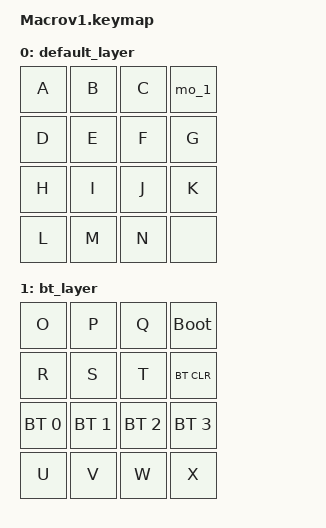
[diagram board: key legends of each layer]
#include <behaviors.dtsi>
#include <dt-bindings/zmk/keys.h>
#include <dt-bindings/zmk/bt.h>

/ {
    keymap {
        compatible = "zmk,keymap";

        default_layer {
            bindings = <
                &kp A    &kp B    &kp C    &mo_1      
                &kp D    &kp E    &kp F    &kp G       
                &kp H    &kp I    &kp J    &kp K       
                &kp L    &kp M    &kp N    &none       
            >;
        };
        bt_layer {
            bindings = <
                &kp O          &kp P       &kp Q       &bootloader  
                &kp R          &kp S       &kp T       &bt BT_CLR   
                &bt BT_SEL 0  &bt BT_SEL 1 &bt BT_SEL 2 &bt BT_SEL 3 
                &kp U          &kp V       &kp W       &kp X        
            >;
        };
    };
};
